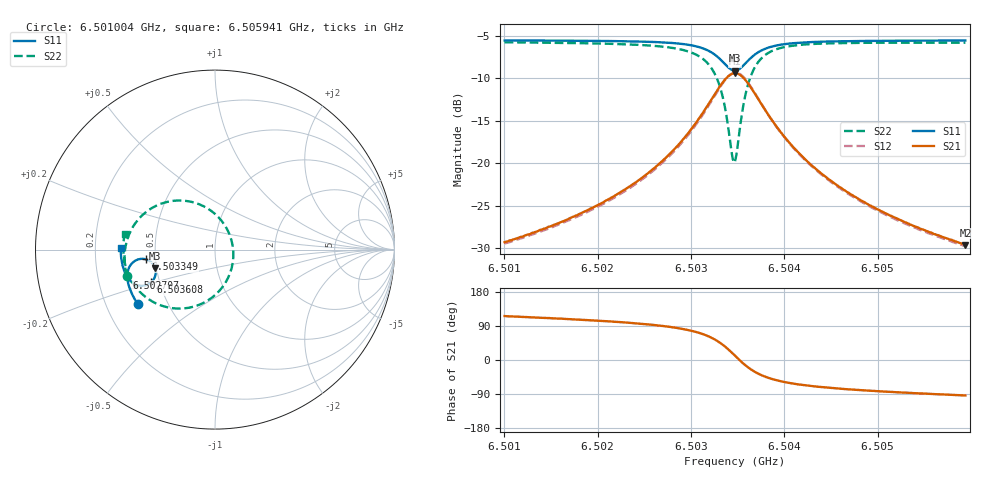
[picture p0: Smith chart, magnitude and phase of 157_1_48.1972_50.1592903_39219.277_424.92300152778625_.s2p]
#  HZ  S  RI  R  50.00
! Rohde & Schwarz Vector Network Analyzer
! Rohde-Schwarz,ZNB20-2Port,1311601062101988,3.16
! Created: UTC 3/20/2024, 11:43:03 AM
! freq[Hz]  re:S11  im:S11  re:S21  im:S21  re:S12  im:S12  re:S22  im:S22
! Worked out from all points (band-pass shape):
!   401 points, 6.501004 GHz to 6.505941 GHz, reference 50 ohm
!   highest |S21| = -9.43 dB at 6.503472 GHz (marker M1); lowest = -29.6 dB at 6.505941 GHz (marker M2)
!   |S21| within 3 dB of the highest: 6.503225 GHz to 6.503719 GHz (494.3 kHz wide, 0.0076 % of centre)
!   lowest |S11| = -9.1 dB at 6.503472 GHz (marker M3), VSWR 2.07, Z = 24.5 - j5.84 ohm
!   |S11| at or under -10 dB: nowhere
!   |S22| runs from -19.9 to -5.8 dB; largest |S21 - S12| = 0.012
!   S11 on the Smith chart (normalised r, x): 6.501004 GHz: 0.34, -0.29; 6.502707 GHz: 0.33, -0.14; 6.503349 GHz: 0.44, -0.06; 6.503608 GHz: 0.45, -0.19; 6.505941 GHz: 0.31, +0.01
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6.5010039e9  -0.4286 -0.3057  -0.0149 0.0308  -0.0131 0.0309  -0.4917 -0.1486
6.5018309e9  -0.4639 -0.2441  -0.0141 0.0489  -0.0118 0.0484  -0.5039 -0.0598
6.5022752e9  -0.4793 -0.2044  -0.0112 0.068  -0.00826 0.0669  -0.5004 0.00432
6.5026578e9  -0.4881 -0.1616  -0.00169 0.0987  0.00194 0.0962  -0.4795 0.0822
6.5027072e9  -0.4885 -0.155  0.00094 0.1044  0.00457 0.1017  -0.4741 0.095
6.5029293e9  -0.4856 -0.1205  0.0216 0.1389  0.0254 0.1345  -0.4303 0.1645
6.5030898e9  -0.4724 -0.0887  0.0585 0.1742  0.0615 0.1684  -0.3582 0.2276
6.5032502e9  -0.4331 -0.0564  0.1444 0.2059  0.1452 0.1995  -0.2011 0.2735
6.503349e9  -0.3867 -0.0536  0.2357 0.1893  0.2359 0.1843  -0.043 0.2302
6.5034354e9  -0.3441 -0.0827  0.3137 0.1147  0.316 0.1101  0.0814 0.0833
6.5034601e9  -0.3361 -0.0968  0.3268 0.0828  0.3301 0.0777  0.098 0.0233
6.5034724e9  -0.3334 -0.1045  0.3312 0.066  0.3345 0.0602  0.1018 -0.00808
6.5034971e9  -0.3304 -0.1207  0.3344 0.0316  0.3383 0.0246  0.0992 -0.0713
6.5035341e9  -0.3327 -0.1446  0.3273 -0.0185  0.3304 -0.0275  0.0716 -0.16
6.5036082e9  -0.3549 -0.1814  0.2807 -0.0945  0.2802 -0.106  -0.0383 -0.2823
6.5037192e9  -0.4002 -0.2012  0.194 -0.1397  0.1885 -0.1494  -0.2139 -0.3284
6.5038797e9  -0.447 -0.1918  0.1104 -0.1358  0.1033 -0.141  -0.3645 -0.2797
6.5040525e9  -0.4752 -0.1704  0.0651 -0.1151  0.0587 -0.1172  -0.4378 -0.2133
6.5042993e9  -0.4959 -0.1404  0.0344 -0.0899  0.0296 -0.0905  -0.4818 -0.1398
6.5046573e9  -0.5111 -0.1026  0.0156 -0.0667  0.0122 -0.0663  -0.5041 -0.0663
6.5051263e9  -0.5209 -0.0589  0.00513 -0.049  0.00285 -0.0483  -0.5106 0.00159
6.5059408e9  -0.5259 0.0105  -0.0021 -0.0329  -0.00343 -0.0322  -0.5031 0.0891
